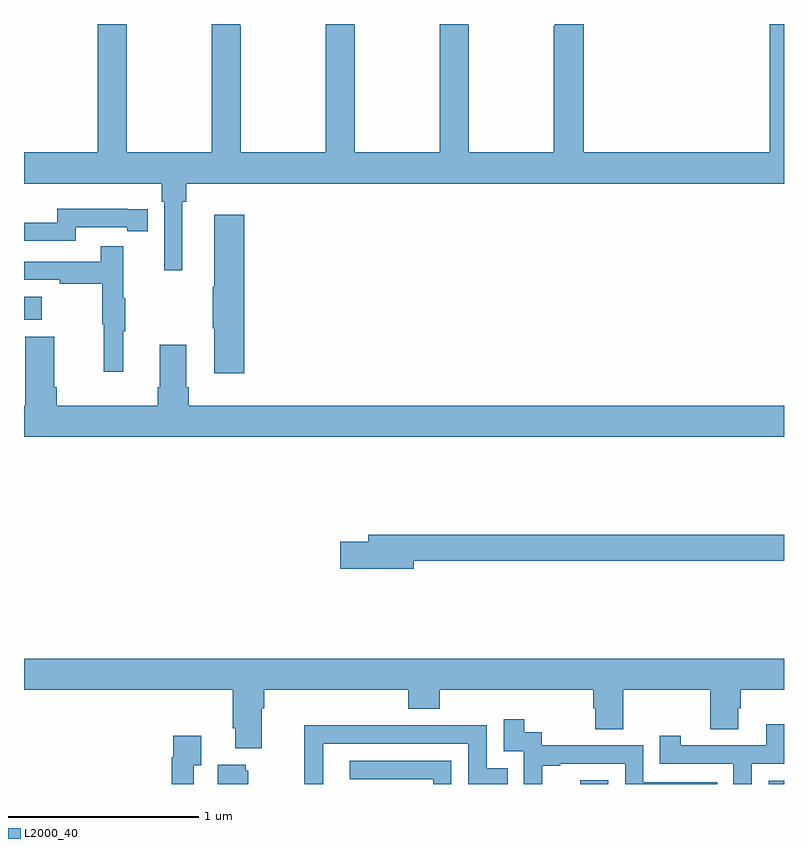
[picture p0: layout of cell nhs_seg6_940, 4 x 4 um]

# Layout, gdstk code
import gdstk
lib = gdstk.Library(unit=1e-6, precision=1e-09)
def R(c, l, rs):  # rectangles x0, y0, x1, y1
    for r in rs: c.add(gdstk.rectangle(r[:2], r[2:], *l))
def P(c, l, *ps):  # polygons
    for p in ps: c.add(gdstk.Polygon(p, *l))
L2000_40 = (2000, 40)

nhs_seg6_940 = lib.new_cell('nhs_seg6_940')
R(nhs_seg6_940, L2000_40, [(171.927,953.5,172.074,953.521), (172.92,953.5,173,953.517), (169,955.943,169.093,956.065)])
P(nhs_seg6_940, L2000_40, [(173,957.5),(172.925,957.5),(172.925,956.824),(171.947,956.824),(171.947,957.5),(171.793,957.5),(171.793,957.491),(171.787,957.491),(171.787,956.824),(171.342,956.824),(171.342,957.491),(171.339,957.491),(171.339,957.5),(171.189,957.5),(171.189,957.491),(171.187,957.491),(171.187,956.824),(170.742,956.824),(170.742,957.491),(170.739,957.491),(170.739,957.5),(170.589,957.5),(170.589,957.491),(170.587,957.491),(170.587,956.824),(170.142,956.824),(170.142,957.491),(170.139,957.491),(170.139,957.5),(169.989,957.5),(169.989,957.491),(169.987,957.491),(169.987,956.824),(169.542,956.824),(169.542,957.491),(169.539,957.491),(169.539,957.5),(169.389,957.5),(169.389,957.491),(169.387,957.491),(169.387,956.824),(169,956.824),(169,956.66),(169.724,956.66),(169.724,956.564),(169.737,956.564),(169.737,956.205),(169.834,956.205),(169.834,956.564),(169.853,956.564),(169.853,956.66),(173,956.66)],
  [(169.272,956.43),(169.544,956.43),(169.544,956.41),(169.652,956.41),(169.652,956.526),(169.544,956.526),(169.544,956.527),(169.176,956.527),(169.176,956.454),(169,956.454),(169,956.358),(169.272,956.358)],
  [(170.159,956.497),(170,956.497),(170,956.117),(169.993,956.117),(169.993,955.9),(170,955.9),(170,955.662),(170.159,955.662)],
  [(169.523,955.883),(169.534,955.883),(169.534,956.057),(169.523,956.057),(169.523,956.329),(169.405,956.329),(169.405,956.25),(169,956.25),(169,956.154),(169.189,956.154),(169.189,956.134),(169.413,956.134),(169.413,955.92),(169.42,955.92),(169.42,955.671),(169.523,955.671)],
  [(173,955.492),(169.868,955.492),(169.868,955.588),(169.855,955.588),(169.855,955.813),(169.715,955.813),(169.715,955.588),(169.703,955.588),(169.703,955.492),(169.172,955.492),(169.172,955.588),(169.159,955.588),(169.159,955.855),(169.007,955.855),(169.007,955.492),(169,955.492),(169,955.328),(173,955.328)],
  [(171.052,954.676),(173,954.676),(173,954.812),(170.813,954.812),(170.813,954.776),(170.664,954.776),(170.664,954.634),(171.052,954.634)],
  [(170.251,953.9),(170.264,953.9),(170.264,953.996),(171.023,953.996),(171.023,953.897),(171.188,953.897),(171.188,953.996),(171.995,953.996),(171.995,953.898),(172.007,953.898),(172.007,953.788),(172.155,953.788),(172.155,953.996),(172.612,953.996),(172.612,953.788),(172.759,953.788),(172.759,953.898),(172.772,953.898),(172.772,953.996),(173,953.996),(173,954.16),(169,954.16),(169,953.996),(170.099,953.996),(170.099,953.794),(170.111,953.794),(170.111,953.687),(170.251,953.687)],
  [(171.728,953.595),(171.823,953.595),(171.823,953.607),(172.164,953.607),(172.164,953.5),(172.649,953.5),(172.649,953.508),(172.26,953.508),(172.26,953.703),(171.726,953.703),(171.726,953.772),(171.634,953.772),(171.634,953.842),(171.525,953.842),(171.525,953.673),(171.63,953.673),(171.63,953.5),(171.728,953.5)],
  [(172.83,953.607),(173,953.607),(173,953.815),(172.907,953.815),(172.907,953.703),(172.456,953.703),(172.456,953.755),(172.345,953.755),(172.345,953.607),(172.734,953.607),(172.734,953.5),(172.83,953.5)],
  [(170.574,953.712),(171.339,953.712),(171.339,953.5),(171.545,953.5),(171.545,953.583),(171.435,953.583),(171.435,953.808),(170.939,953.808),(170.939,953.81),(170.476,953.81),(170.476,953.503),(170.478,953.503),(170.478,953.5),(170.574,953.5)],
  [(169.893,953.599),(169.933,953.599),(169.933,953.755),(169.785,953.755),(169.785,953.642),(169.777,953.642),(169.777,953.5),(169.893,953.5)],
  [(171.249,953.622),(170.715,953.622),(170.715,953.526),(171.153,953.526),(171.153,953.5),(171.249,953.5)],
  [(170.179,953.571),(170.168,953.571),(170.168,953.602),(170.021,953.602),(170.021,953.5),(170.179,953.5)])

lib.write_gds('nhs_seg6_940.gds')
